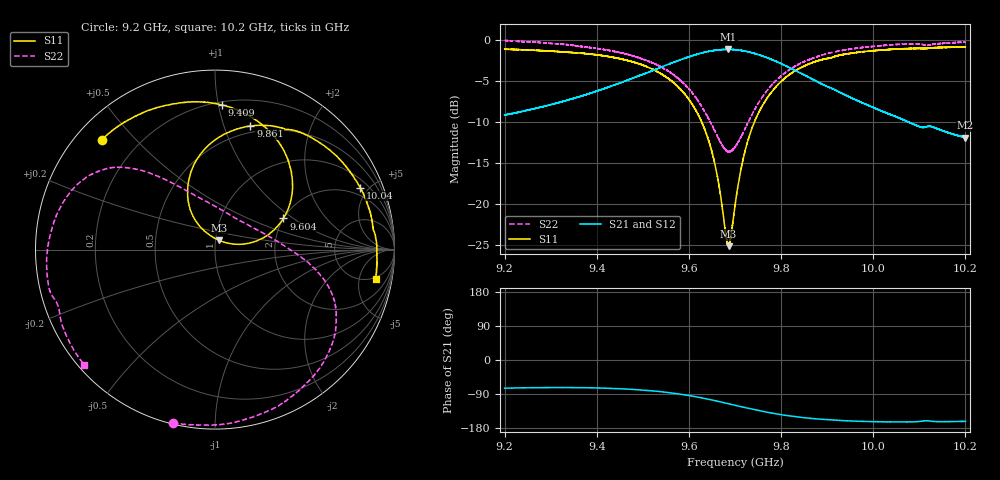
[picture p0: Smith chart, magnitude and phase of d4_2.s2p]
!Agilent Technologies,N5242A,MY51221714,A.09.90.19
!Agilent N5242A: A.09.90.19
!Date: Tuesday, March 26, 2024 16:14:53
!Correction: S11(Full 2 Port(1,2))
!S21(Full 2 Port(1,2))
!S12(Full 2 Port(1,2))
!S22(Full 2 Port(1,2))
!S2P File: Measurements: S11, S21, S12, S22:
# Hz S  dB  R 50
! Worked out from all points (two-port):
!   16001 points, 9.2 GHz to 10.2 GHz, reference 50 ohm
!   highest |S21| = -1.13 dB at 9.685 GHz (marker M1); lowest = -11.9 dB at 10.2 GHz (marker M2)
!   |S21| within 3 dB of the highest: 9.502072 GHz to 9.502609 GHz (537.1 kHz wide, 0.00565 % of centre); 9.503 GHz to 9.846 GHz (343.1 MHz wide, 3.55 % of centre)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
!   lowest |S11| = -25.1 dB at 9.686 GHz (marker M3), VSWR 1.12, Z = 51.9 + j5.34 ohm
!   |S11| at or under -10 dB: 9.628 GHz to 9.742 GHz (114.1 MHz wide, 1.18 % of centre); 9.741948 GHz to 9.742067 GHz (119.1 kHz wide, 0.00122 % of centre)
!   |S22| runs from -13.7 to 0.0 dB; largest |S21 - S12| = 0.011
!   S11 on the Smith chart (normalised r, x): 9.2 GHz: 0.07, +0.40; 9.409 GHz: 0.22, +1.03; 9.604 GHz: 2.00, +0.84; 9.861 GHz: 0.44, +1.23; 10.04 GHz: 1.45, +4.45; 10.2 GHz: 4.65, -8.71
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9.2e9  -1.12 135.9  -9.12 -74.4  -9.12 -75.2  -0.06 -103.6
9.277188e9  -1.28 119.0  -8.19 -73.0  -8.18 -73.6  -0.29 -82.6
9.366688e9  -1.60 98.0  -6.81 -73.1  -6.81 -73.8  -0.79 -59.4
9.408688e9  -1.86 87.2  -6.05 -74.0  -6.03 -74.7  -1.09 -48.9
9.47e9  -2.53 70.1  -4.81 -77.0  -4.81 -77.6  -1.78 -34.7
9.533375e9  -3.92 49.9  -3.45 -82.9  -3.43 -83.5  -3.08 -21.1
9.603938e9  -7.55 24.5  -1.97 -94.6  -1.96 -95.3  -6.20 -5.5
9.649375e9  -13.50 11.1  -1.31 -105.5  -1.31 -105.9  -10.29 14.5
9.68525e9  -24.93 63.9  -1.13 -115.2  -1.12 -115.8  -13.56 57.0
9.685938e9  -25.10 67.2  -1.13 -115.4  -1.13 -116.0  -13.60 57.9
9.7e9  -20.22 114.7  -1.17 -119.5  -1.16 -120.0  -13.03 79.7
9.72275e9  -13.30 123.6  -1.36 -125.8  -1.34 -126.5  -10.67 104.9
9.7535e9  -8.60 114.1  -1.82 -133.9  -1.82 -134.5  -7.43 121.6
9.810688e9  -4.52 92.0  -3.16 -146.2  -3.16 -146.8  -3.90 135.1
9.860938e9  -2.90 74.0  -4.56 -153.7  -4.55 -154.1  -2.37 143.9
9.866688e9  -2.77 72.1  -4.72 -154.3  -4.72 -154.8  -2.25 145.0
9.934438e9  -1.76 51.5  -6.56 -160.1  -6.57 -160.6  -1.25 158.1
1.003338e10  -1.16 25.8  -8.99 -163.2  -8.99 -163.9  -0.60 179.8
1.004444e10  -1.11 23.1  -9.21 -163.3  -9.23 -163.9  -0.56 -177.6
1.009762e10  -1.02 11.0  -10.49 -162.4  -10.49 -163.0  -0.47 -165.5
1.019981e10  -0.82 -10.2  -11.89 -161.9  -11.88 -162.4  -0.26 -138.7
1.02e10  -0.82 -10.2  -11.88 -162.0  -11.88 -162.5  -0.26 -138.6
